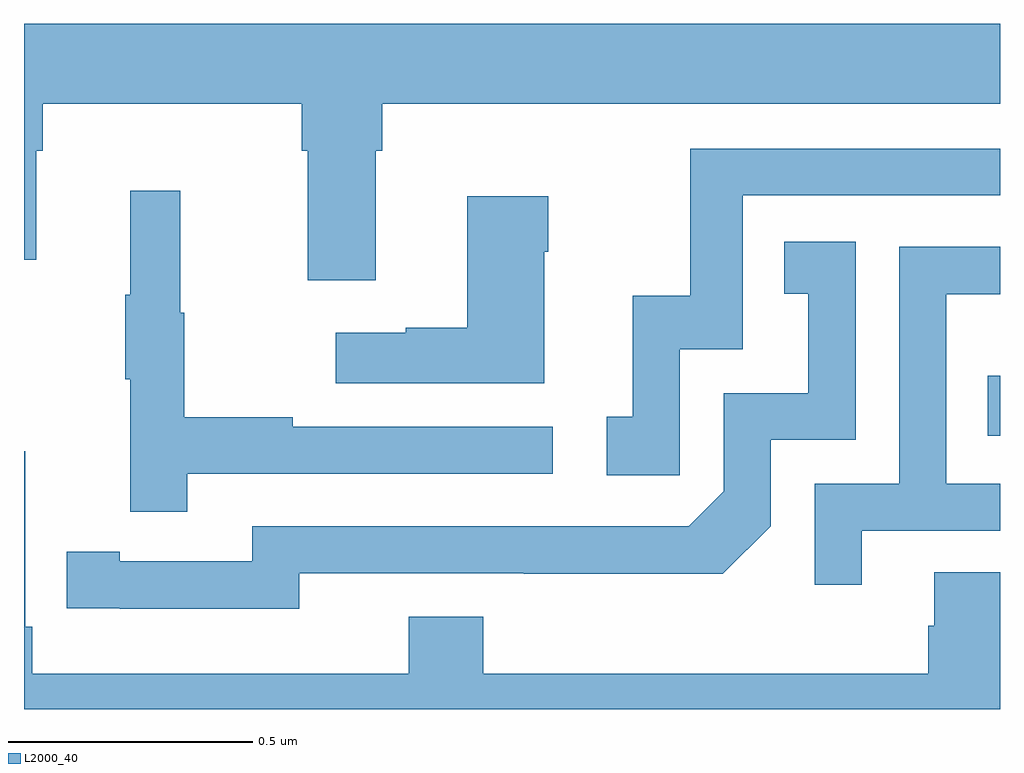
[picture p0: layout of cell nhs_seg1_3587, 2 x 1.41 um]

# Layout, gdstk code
import gdstk
lib = gdstk.Library(unit=1e-6, precision=1e-09)
def R(c, l, rs):  # rectangles x0, y0, x1, y1
    for r in rs: c.add(gdstk.rectangle(r[:2], r[2:], *l))
def P(c, l, *ps):  # polygons
    for p in ps: c.add(gdstk.Polygon(p, *l))
L2000_40 = (2000, 40)

nhs_seg1_3587 = lib.new_cell('nhs_seg1_3587')
R(nhs_seg1_3587, L2000_40, [(157.975,509.76,158,509.883)])
P(nhs_seg1_3587, L2000_40, [(156,510.12),(156.025,510.12),(156.025,510.344),(156.038,510.344),(156.038,510.44),(156.569,510.44),(156.569,510.344),(156.581,510.344),(156.581,510.078),(156.721,510.078),(156.721,510.344),(156.734,510.344),(156.734,510.44),(158,510.44),(158,510.604),(156,510.604)],
  [(157.344,509.937),(157.473,509.937),(157.473,510.252),(158,510.252),(158,510.348),(157.365,510.348),(157.365,510.046),(157.247,510.046),(157.247,509.799),(157.194,509.799),(157.194,509.679),(157.344,509.679)],
  [(156.335,509.682),(157.084,509.682),(157.084,509.778),(156.551,509.778),(156.551,509.798),(156.328,509.798),(156.328,510.012),(156.32,510.012),(156.32,510.262),(156.218,510.262),(156.218,510.049),(156.207,510.049),(156.207,509.875),(156.218,509.875),(156.218,509.604),(156.335,509.604)],
  [(157.066,510.137),(157.074,510.137),(157.074,510.25),(156.908,510.25),(156.908,509.981),(156.782,509.981),(156.782,509.971),(156.639,509.971),(156.639,509.867),(157.066,509.867)],
  [(156.564,509.478),(157.024,509.478),(157.024,509.477),(157.432,509.477),(157.53,509.574),(157.53,509.751),(157.704,509.751),(157.704,510.157),(157.558,510.157),(157.558,510.051),(157.607,510.051),(157.607,509.847),(157.434,509.847),(157.434,509.646),(157.362,509.574),(156.468,509.574),(156.468,509.502),(156.196,509.502),(156.196,509.522),(156.088,509.522),(156.088,509.406),(156.196,509.406),(156.196,509.405),(156.564,509.405)],
  [(157.717,509.565),(158,509.565),(158,509.661),(157.89,509.661),(157.89,510.05),(158,510.05),(158,510.147),(157.794,510.147),(157.794,509.661),(157.62,509.661),(157.62,509.454),(157.717,509.454)],
  [(158,509.48),(157.865,509.48),(157.865,509.37),(157.853,509.37),(157.853,509.272),(156.941,509.272),(156.941,509.389),(156.788,509.389),(156.788,509.272),(156.017,509.272),(156.017,509.368),(156.003,509.368),(156.003,509.728),(156,509.728),(156,509.199),(158,509.199)])

lib.write_gds('nhs_seg1_3587.gds')
